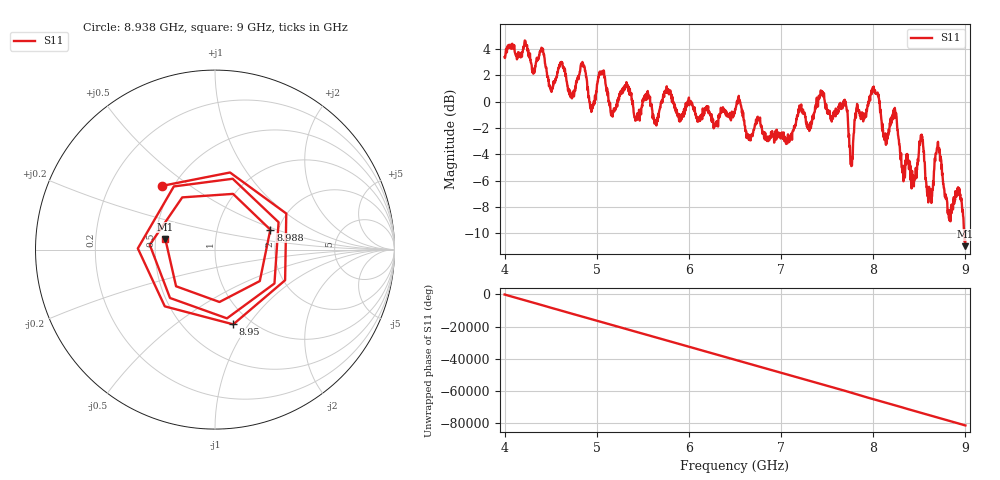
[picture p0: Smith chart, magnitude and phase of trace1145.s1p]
! Created with skrf 1.8.0 (http://scikit-rf.org).
# Hz S RI R 50.0
!freq ReS11 ImS11
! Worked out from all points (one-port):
!   1601 points, 4 GHz to 9 GHz, reference 50 ohm
!   lowest |S11| = -11.0 dB at 9 GHz (marker M1), VSWR 1.79, Z = 28.2 + j3.59 ohm
!   |S11| at or under -10 dB: 8.989484 GHz to end of sweep
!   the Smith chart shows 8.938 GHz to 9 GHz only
!   S11 on the Smith chart (normalised r, x): 8.938 GHz: 0.44, +0.40; 8.95 GHz: 0.83, -0.85; 8.988 GHz: 1.82, +0.45; 9 GHz: 0.56, +0.07
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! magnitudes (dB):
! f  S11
! 4 GHz  3.4
! 4.406 GHz  4.0
! 4.506 GHz  0.9
! 4.625 GHz  3.0
! 4.731 GHz  0.3
! 4.853 GHz  2.8
! 4.944 GHz  -0.5
! 5.053 GHz  2.3
! 5.162 GHz  -1.0
! 5.25 GHz  0.4
! 5.875 GHz  -1.1
! 6.5 GHz  -0.6
! 7.125 GHz  -2.3
! 7.444 GHz  0.8
! 7.697 GHz  0.0
! 7.75 GHz  -4.1
! 8.006 GHz  1.1
! 8.122 GHz  -2.9
! 8.375 GHz  -4.3
! 8.45 GHz  -5.9
! 8.525 GHz  -2.5
! 8.612 GHz  -7.0
! 8.703 GHz  -3.0
! 8.825 GHz  -8.3
! 8.938 GHz  -6.7
! 8.95 GHz  -7.4
! 8.988 GHz  -9.7
! 9 GHz  -11.0
